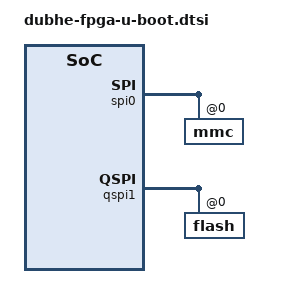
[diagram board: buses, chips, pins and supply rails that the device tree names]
// SPDX-License-Identifier: (GPL-2.0 OR MIT)
/* Copyright (c) 2021 StarFive Technology Co., Ltd. */

/ {
	chosen {
		stdout-path = "serial0";
		bootph-pre-ram;
	};

	config {
		u-boot,spl-payload-offset = <0x42000>;
		bootph-pre-ram;
	};

	cpus {
		bootph-pre-ram;
		cpu@0 {
			bootph-pre-ram;
		};

		cpu@1 {
			bootph-pre-ram;
		};
	};

	memory@80000000 {
		bootph-pre-ram;
	};

	soc {
		bootph-pre-ram;
		dmc: dmc@10280000 {
			compatible = "starfive,dubhe-ddr";
			reg = <0x0 0x10280000 0x0 0x10000
			       0x0 0x10290000 0x0 0x10000
			       0x0 0x102A0000 0x0 0x10000>;
			clocks = <&pbus_clk>;
			clock-frequency = <25000000>;
			bootph-pre-ram;
		};
	};
};

&clint {
	bootph-pre-ram;
};

&pbus_clk {
	bootph-pre-ram;
};

&plic0 {
	bootph-pre-ram;
};

&spi0 {
	bootph-pre-ram;
	
	mmc@0 {
		bootph-pre-ram;
	};
};

&qspi1 {
	bootph-pre-ram;

	flash@0 {
		bootph-pre-ram;
	};
};

&uart0 {
	bootph-pre-ram;
};

&pbus_clk {
	bootph-pre-ram;
};

&clint {
	clocks = <&pbus_clk>;
	bootph-pre-ram;
};

&cpu0_intc {
	bootph-pre-ram;
};
